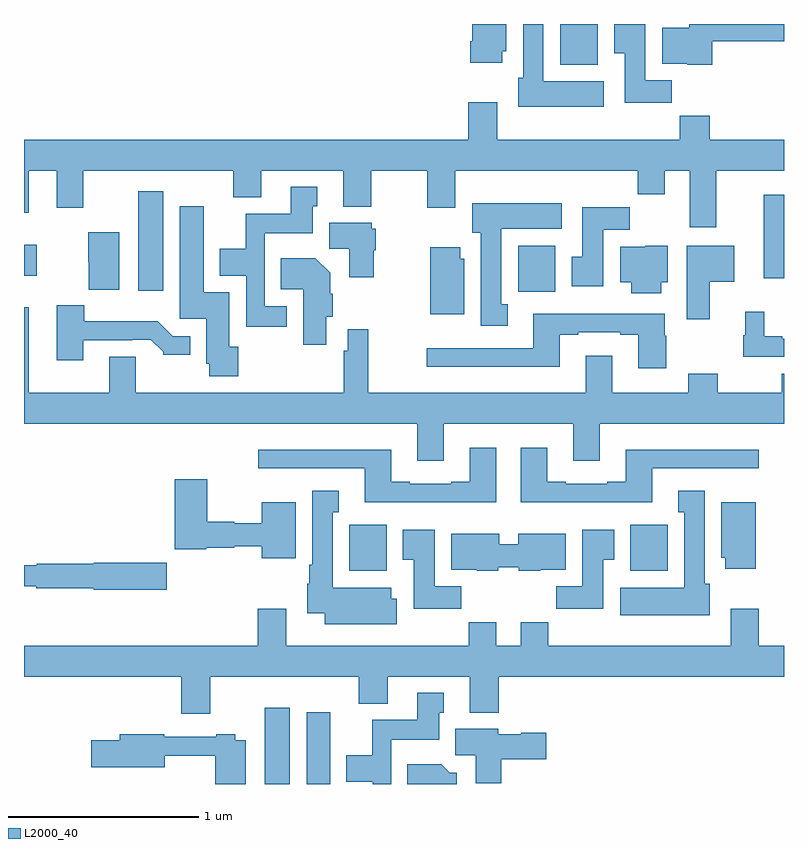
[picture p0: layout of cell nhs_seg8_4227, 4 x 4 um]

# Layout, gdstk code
import gdstk
lib = gdstk.Library(unit=1e-6, precision=1e-09)
def R(c, l, rs):  # rectangles x0, y0, x1, y1
    for r in rs: c.add(gdstk.rectangle(r[:2], r[2:], *l))
def P(c, l, *ps):  # polygons
    for p in ps: c.add(gdstk.Polygon(p, *l))
L2000_40 = (2000, 40)

nhs_seg8_4227 = lib.new_cell('nhs_seg8_4227')
R(nhs_seg8_4227, L2000_40, [(370.268,1151.9,370.399,1152.301), (370.487,1151.9,370.612,1152.277), (370.712,1153.022,370.909,1153.264), (372.191,1153.022,372.388,1153.264), (371.6,1154.492,371.797,1154.734), (369.602,1154.496,369.733,1155.019), (372.893,1154.562,373,1155.001), (369,1154.576,369.067,1154.737), (371.823,1155.686,372.019,1155.9)])
P(nhs_seg8_4227, L2000_40, [(372.052,1155.598),(371.734,1155.598),(371.734,1155.9),(371.627,1155.9),(371.627,1155.618),(371.6,1155.618),(371.6,1155.464),(372.052,1155.464)],
  [(372.623,1155.808),(373,1155.808),(373,1155.9),(372.5,1155.9),(372.5,1155.88),(372.359,1155.88),(372.359,1155.692),(372.492,1155.692),(372.492,1155.686),(372.623,1155.686)],
  [(371.518,1155.756),(371.539,1155.756),(371.539,1155.9),(371.36,1155.9),(371.36,1155.808),(371.348,1155.808),(371.348,1155.696),(371.518,1155.696)],
  [(372.41,1155.604),(372.271,1155.604),(372.271,1155.9),(372.107,1155.9),(372.107,1155.745),(372.161,1155.745),(372.161,1155.486),(372.41,1155.486)],
  [(372.643,1155.128),(373,1155.128),(373,1155.292),(372.608,1155.292),(372.608,1155.416),(372.451,1155.416),(372.451,1155.292),(371.491,1155.292),(371.491,1155.487),(371.339,1155.487),(371.339,1155.292),(369,1155.292),(369,1154.907),(369.025,1154.907),(369.025,1155.128),(369.173,1155.128),(369.173,1154.934),(369.313,1154.934),(369.313,1155.128),(370.102,1155.128),(370.102,1154.987),(370.249,1154.987),(370.249,1155.128),(370.679,1155.128),(370.679,1154.939),(370.827,1154.939),(370.827,1155.128),(371.122,1155.128),(371.122,1154.934),(371.269,1154.934),(371.269,1155.128),(372.229,1155.128),(372.229,1155.004),(372.373,1155.004),(372.373,1155.128),(372.503,1155.128),(372.503,1154.829),(372.643,1154.829)],
  [(370.384,1154.415),(370.266,1154.415),(370.266,1154.798),(370.519,1154.798),(370.519,1154.94),(370.543,1154.94),(370.543,1155.043),(370.403,1155.043),(370.403,1154.902),(370.168,1154.902),(370.168,1154.716),(370.031,1154.716),(370.031,1154.576),(370.17,1154.576),(370.17,1154.307),(370.384,1154.307)],
  [(371.545,1154.426),(371.512,1154.426),(371.512,1154.822),(371.83,1154.822),(371.83,1154.956),(371.36,1154.956),(371.36,1154.802),(371.405,1154.802),(371.405,1154.313),(371.545,1154.313)],
  [(370.128,1154.202),(370.081,1154.202),(370.081,1154.488),(369.946,1154.488),(369.946,1154.941),(369.821,1154.941),(369.821,1154.349),(369.959,1154.349),(369.959,1154.112),(369.976,1154.112),(369.976,1154.046),(370.128,1154.046)],
  [(372.049,1154.816),(372.188,1154.816),(372.188,1154.935),(371.939,1154.935),(371.939,1154.676),(371.882,1154.676),(371.882,1154.52),(372.049,1154.52)],
  [(370.842,1154.709),(370.852,1154.709),(370.852,1154.823),(370.83,1154.823),(370.83,1154.854),(370.607,1154.854),(370.607,1154.716),(370.712,1154.716),(370.712,1154.568),(370.842,1154.568)],
  [(369.502,1154.803),(369.338,1154.803),(369.338,1154.649),(369.34,1154.649),(369.34,1154.501),(369.502,1154.501)],
  [(372.61,1154.543),(372.739,1154.543),(372.739,1154.734),(372.488,1154.734),(372.488,1154.346),(372.61,1154.346)],
  [(372.355,1154.54),(372.388,1154.54),(372.388,1154.734),(372.27,1154.734),(372.27,1154.728),(372.137,1154.728),(372.137,1154.54),(372.197,1154.54),(372.197,1154.483),(372.355,1154.483)],
  [(371.317,1154.664),(371.296,1154.664),(371.296,1154.725),(371.138,1154.725),(371.138,1154.372),(371.317,1154.372)],
  [(370.591,1154.358),(370.625,1154.358),(370.625,1154.48),(370.612,1154.48),(370.612,1154.59),(370.534,1154.668),(370.351,1154.668),(370.351,1154.504),(370.469,1154.504),(370.469,1154.211),(370.591,1154.211)],
  [(369.313,1154.235),(369.569,1154.235),(369.569,1154.238),(369.668,1154.238),(369.732,1154.174),(369.732,1154.159),(369.874,1154.159),(369.874,1154.256),(369.783,1154.256),(369.705,1154.335),(369.316,1154.335),(369.316,1154.419),(369.173,1154.419),(369.173,1154.13),(369.313,1154.13)],
  [(371.209,1153.796),(371.891,1153.796),(371.891,1153.602),(372.031,1153.602),(372.031,1153.796),(373,1153.796),(373,1154.059),(372.988,1154.059),(372.988,1153.96),(372.651,1153.96),(372.651,1154.059),(372.496,1154.059),(372.496,1153.96),(372.097,1153.96),(372.097,1154.155),(371.957,1154.155),(371.957,1153.96),(370.813,1153.96),(370.813,1154.293),(370.704,1154.293),(370.704,1154.18),(370.684,1154.18),(370.684,1153.96),(369.589,1153.96),(369.589,1154.15),(369.449,1154.15),(369.449,1153.96),(369.025,1153.96),(369.025,1154.41),(369,1154.41),(369,1153.796),(371.069,1153.796),(371.069,1153.602),(371.209,1153.602)],
  [(373,1154.244),(372.991,1154.244),(372.991,1154.257),(372.897,1154.257),(372.897,1154.386),(372.797,1154.386),(372.797,1154.262),(372.786,1154.262),(372.786,1154.148),(373,1154.148)],
  [(372.381,1154.258),(372.373,1154.258),(372.373,1154.374),(371.681,1154.374),(371.681,1154.193),(371.121,1154.193),(371.121,1154.096),(371.821,1154.096),(371.821,1154.265),(371.917,1154.265),(371.917,1154.277),(372.137,1154.277),(372.137,1154.265),(372.233,1154.265),(372.233,1154.088),(372.381,1154.088)],
  [(371.485,1153.669),(371.345,1153.669),(371.345,1153.492),(371.249,1153.492),(371.249,1153.479),(371.029,1153.479),(371.029,1153.492),(370.933,1153.492),(370.933,1153.66),(370.233,1153.66),(370.233,1153.563),(370.793,1153.563),(370.793,1153.382),(371.485,1153.382)],
  [(372.307,1153.563),(372.868,1153.563),(372.868,1153.66),(372.167,1153.66),(372.167,1153.492),(372.071,1153.492),(372.071,1153.479),(371.851,1153.479),(371.851,1153.492),(371.755,1153.492),(371.755,1153.669),(371.615,1153.669),(371.615,1153.382),(372.307,1153.382)],
  [(370.429,1153.384),(370.25,1153.384),(370.25,1153.273),(370.107,1153.273),(370.107,1153.28),(369.964,1153.28),(369.964,1153.504),(369.794,1153.504),(369.794,1153.136),(369.96,1153.136),(369.96,1153.144),(370.107,1153.144),(370.107,1153.152),(370.25,1153.152),(370.25,1153.088),(370.429,1153.088)],
  [(372.61,1152.954),(372.583,1152.954),(372.583,1153.444),(372.443,1153.444),(372.443,1153.331),(372.476,1153.331),(372.476,1152.934),(372.137,1152.934),(372.137,1152.788),(372.61,1152.788)],
  [(370.963,1152.875),(370.933,1152.875),(370.933,1152.934),(370.624,1152.934),(370.624,1153.331),(370.657,1153.331),(370.657,1153.444),(370.517,1153.444),(370.517,1153.054),(370.502,1153.054),(370.502,1152.954),(370.49,1152.954),(370.49,1152.8),(370.583,1152.8),(370.583,1152.74),(370.963,1152.74)],
  [(372.85,1153.384),(372.671,1153.384),(372.671,1153.092),(372.692,1153.092),(372.692,1153.032),(372.85,1153.032)],
  [(372.049,1153.081),(372.106,1153.081),(372.106,1153.237),(371.939,1153.237),(371.939,1152.94),(371.8,1152.94),(371.8,1152.822),(372.049,1152.822)],
  [(371.3,1152.94),(371.161,1152.94),(371.161,1153.237),(370.994,1153.237),(370.994,1153.081),(371.051,1153.081),(371.051,1152.822),(371.3,1152.822)],
  [(371.496,1153.04),(371.604,1153.04),(371.604,1153.022),(371.718,1153.022),(371.718,1153.028),(371.851,1153.028),(371.851,1153.216),(371.6,1153.216),(371.6,1153.162),(371.5,1153.162),(371.5,1153.216),(371.249,1153.216),(371.249,1153.028),(371.382,1153.028),(371.382,1153.022),(371.496,1153.022)],
  [(369.751,1153.064),(369.366,1153.064),(369.366,1153.058),(369.066,1153.058),(369.066,1153.051),(369,1153.051),(369,1152.942),(369.064,1152.942),(369.064,1152.93),(369.366,1152.93),(369.366,1152.922),(369.751,1152.922)],
  [(369.979,1152.464),(370.763,1152.464),(370.763,1152.323),(370.915,1152.323),(370.915,1152.464),(371.345,1152.464),(371.345,1152.275),(371.498,1152.275),(371.498,1152.464),(373,1152.464),(373,1152.628),(372.867,1152.628),(372.867,1152.823),(372.719,1152.823),(372.719,1152.628),(371.759,1152.628),(371.759,1152.752),(371.615,1152.752),(371.615,1152.628),(371.485,1152.628),(371.485,1152.752),(371.341,1152.752),(371.341,1152.628),(370.381,1152.628),(370.381,1152.823),(370.229,1152.823),(370.229,1152.628),(369,1152.628),(369,1152.464),(369.827,1152.464),(369.827,1152.27),(369.979,1152.27)],
  [(370.932,1152.134),(371.185,1152.134),(371.185,1152.276),(371.209,1152.276),(371.209,1152.379),(371.069,1152.379),(371.069,1152.238),(370.834,1152.238),(370.834,1152.052),(370.697,1152.052),(370.697,1151.912),(370.836,1151.912),(370.836,1151.9),(370.932,1151.9)],
  [(371.513,1152.029),(371.749,1152.029),(371.749,1152.171),(371.616,1152.171),(371.616,1152.163),(371.496,1152.163),(371.496,1152.19),(371.27,1152.19),(371.27,1152.051),(371.378,1152.051),(371.378,1151.904),(371.513,1151.904)],
  [(370.168,1152.13),(370.113,1152.13),(370.113,1152.163),(370.013,1152.163),(370.013,1152.15),(369.738,1152.15),(369.738,1152.163),(369.503,1152.163),(369.503,1152.129),(369.354,1152.129),(369.354,1151.987),(369.742,1151.987),(369.742,1152.049),(370.006,1152.049),(370.006,1151.9),(370.168,1151.9)],
  [(371.278,1151.959),(371.24,1151.959),(371.195,1152.004),(371.017,1152.004),(371.017,1151.9),(371.278,1151.9)])

lib.write_gds('nhs_seg8_4227.gds')
